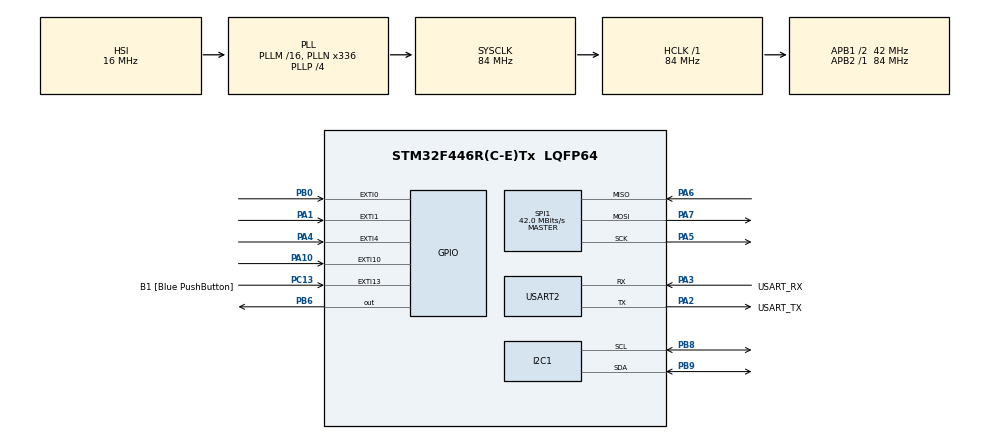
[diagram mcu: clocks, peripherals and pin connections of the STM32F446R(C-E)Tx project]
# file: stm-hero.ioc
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Dma.Request0=SPI1_TX
Dma.SPI1_TX.0.Direction=DMA_MEMORY_TO_PERIPH
Dma.SPI1_TX.0.FIFOMode=DMA_FIFOMODE_DISABLE
Dma.SPI1_TX.0.Instance=DMA2_Stream3
Dma.SPI1_TX.0.MemDataAlignment=DMA_MDATAALIGN_BYTE
Dma.SPI1_TX.0.MemInc=DMA_MINC_ENABLE
Dma.SPI1_TX.0.Mode=DMA_NORMAL
Dma.SPI1_TX.0.PeriphDataAlignment=DMA_PDATAALIGN_BYTE
Dma.SPI1_TX.0.PeriphInc=DMA_PINC_DISABLE
Dma.SPI1_TX.0.Priority=DMA_PRIORITY_LOW
Mcu.Family=STM32F4
Mcu.Name=STM32F446R(C-E)Tx
Mcu.Package=LQFP64
NVIC.DMA2_Stream3_IRQn=true\:0\:0\:false\:false\:true\:false\:true\:true
NVIC.EXTI0_IRQn=true\:0\:0\:false\:false\:true\:true\:true\:true
NVIC.EXTI15_10_IRQn=true\:0\:0\:false\:false\:true\:true\:true\:true
NVIC.EXTI1_IRQn=true\:0\:0\:false\:false\:true\:true\:true\:true
NVIC.EXTI4_IRQn=true\:0\:0\:false\:false\:true\:true\:true\:true
NVIC.PriorityGroup=NVIC_PRIORITYGROUP_0
PA1.GPIO_ModeDefaultEXTI=GPIO_MODE_IT_FALLING
PA1.GPIO_PuPd=GPIO_PULLUP
PA1.Signal=GPXTI1
PA10.GPIO_ModeDefaultEXTI=GPIO_MODE_IT_FALLING
PA10.GPIO_PuPd=GPIO_PULLUP
PA10.Signal=GPXTI10
PA13.GPIO_Label=TMS
PA13.Mode=Serial_Wire
PA13.Signal=SYS_JTMS-SWDIO
PA14.GPIO_Label=TCK
PA14.Mode=Serial_Wire
PA14.Signal=SYS_JTCK-SWCLK
PA2.GPIO_Label=USART_TX
PA2.Mode=Asynchronous
PA2.Signal=USART2_TX
PA3.GPIO_Label=USART_RX
PA3.Mode=Asynchronous
PA3.Signal=USART2_RX
PA4.GPIO_ModeDefaultEXTI=GPIO_MODE_IT_FALLING
PA4.GPIO_PuPd=GPIO_PULLUP
PA4.Signal=GPXTI4
PA5.Mode=Full_Duplex_Master
PA5.Signal=SPI1_SCK
PA6.Mode=Full_Duplex_Master
PA6.Signal=SPI1_MISO
PA7.Mode=Full_Duplex_Master
PA7.Signal=SPI1_MOSI
PB0.GPIO_ModeDefaultEXTI=GPIO_MODE_IT_FALLING
PB0.GPIO_PuPd=GPIO_PULLUP
PB0.Signal=GPXTI0
PB3.GPIO_Label=SWO
PB3.Signal=SYS_JTDO-SWO
PB6.Signal=GPIO_Output
PB8.Mode=I2C
PB8.Signal=I2C1_SCL
PB9.Mode=I2C
PB9.Signal=I2C1_SDA
PC13.GPIO_Label=B1 [Blue PushButton]
PC13.GPIO_ModeDefaultEXTI=GPIO_MODE_IT_FALLING
PC13.Signal=GPXTI13
PC14-OSC32_IN.Mode=LSE-External-Oscillator
PC14-OSC32_IN.Signal=RCC_OSC32_IN
PC15-OSC32_OUT.Mode=LSE-External-Oscillator
PC15-OSC32_OUT.Signal=RCC_OSC32_OUT
PH0-OSC_IN.Mode=HSE-External-Oscillator
PH0-OSC_IN.Signal=RCC_OSC_IN
PH1-OSC_OUT.Mode=HSE-External-Oscillator
PH1-OSC_OUT.Signal=RCC_OSC_OUT
ProjectManager.HeapSize=0x200
ProjectManager.StackSize=0x400
ProjectManager.TargetToolchain=STM32CubeIDE
RCC.48MHZClocksFreq_Value=84000000
RCC.AHBFreq_Value=84000000
RCC.APB1CLKDivider=RCC_HCLK_DIV2
RCC.APB1Freq_Value=42000000
RCC.APB1TimFreq_Value=84000000
RCC.APB2Freq_Value=84000000
RCC.APB2TimFreq_Value=84000000
RCC.CortexFreq_Value=84000000
RCC.FLatency-AdvancedSettings=FLASH_LATENCY_2
RCC.HCLKFreq_Value=84000000
RCC.HSE_VALUE=8000000
RCC.HSI_VALUE=16000000
RCC.PLLN=336
RCC.PLLP=RCC_PLLP_DIV4
RCC.SYSCLKFreq_VALUE=84000000
RCC.SYSCLKSource=RCC_SYSCLKSOURCE_PLLCLK
RCC.USBFreq_Value=168000000
RCC.VCOOutputFreq_Value=336000000
SPI1.CalculateBaudRate=42.0 MBits/s
SPI1.Direction=SPI_DIRECTION_2LINES
SPI1.Mode=SPI_MODE_MASTER
SPI1.VirtualType=VM_MASTER
TIM2.Prescaler=84 - 1
USART2.VirtualMode=VM_ASYNC
VP_TIM2_VS_ClockSourceINT.Mode=Internal
board=NUCLEO-F446RE

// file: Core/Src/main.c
/* USER CODE BEGIN Header */
/**
  ******************************************************************************
  * @file           : main.c
  * @brief          : Main program body
  ******************************************************************************
  * @attention
  *
  * Copyright (c) 2026 STMicroelectronics.
  * All rights reserved.
  *
  * This software is licensed under terms that can be found in the LICENSE file
  * in the root directory of this software component.
  * If no LICENSE file comes with this software, it is provided AS-IS.
  *
  ******************************************************************************
  */
/* USER CODE END Header */
#include "main.h"

/* USER CODE BEGIN Includes */
#include "led.h"
#include "oled.h"
#include "song.h"
#include "game.h"
#include "input.h"
#include <stdint.h>
#include <stdio.h>
#include <string.h>
#include "stm32f4xx.h"
/* USER CODE END Includes */

/* USER CODE BEGIN PD */
#define TIMEOUT 100
#define GAME_STEP 50
/* USER CODE END PD */

I2C_HandleTypeDef hi2c1;

SPI_HandleTypeDef hspi1;
DMA_HandleTypeDef hdma_spi1_tx;

TIM_HandleTypeDef htim2;

UART_HandleTypeDef huart2;

void SystemClock_Config(void);
static void MX_GPIO_Init(void);
static void MX_DMA_Init(void);
static void MX_I2C1_Init(void);
static void MX_SPI1_Init(void);
static void MX_USART2_UART_Init(void);
static void MX_TIM2_Init(void);
/* USER CODE BEGIN PFP */
static void I2C_BusRecover(void);
/* USER CODE END PFP */

/* USER CODE BEGIN 0 */
volatile uint8_t blue_button_pressed = 0;
volatile uint8_t up_button_pressed = 0;
volatile uint8_t down_button_pressed = 0;
extern uint32_t song_start_time;
volatile uint32_t last_press_us[4];

/* USER CODE END 0 */

int main(void)
{

  /* MCU Configuration--------------------------------------------------------*/

  /* Reset of all peripherals, Initializes the Flash interface and the Systick. */
  HAL_Init();

  /* Configure the system clock */
  SystemClock_Config();

  /* Initialize all configured peripherals */
  MX_GPIO_Init();
  MX_DMA_Init();
  MX_I2C1_Init();
  MX_SPI1_Init();
  MX_USART2_UART_Init();
  MX_TIM2_Init();
  /* USER CODE BEGIN 2 */
  HAL_TIM_Base_Start(&htim2);

  HAL_I2C_DeInit(&hi2c1);
  HAL_Delay(10);
  HAL_I2C_Init(&hi2c1);
  HAL_Delay(10);

  HAL_Delay(100);
  OLED_Init();
  OLED_Clear();

  HAL_StatusTypeDef status = OLED_Refresh();

  uint32_t err = HAL_I2C_GetError(&hi2c1);

  char msg[64];
  sprintf(msg,
      "OLED status=%d err=%lu\r\n",
      status,
      err);

  //sprintf(msg, "OLED status: %d\r\n", status);
  HAL_UART_Transmit(&huart2, (uint8_t*)msg, strlen(msg), 100);

  if(HAL_I2C_IsDeviceReady(&hi2c1,(0x3C << 1),3,100) != HAL_OK)
  {
	  I2C_BusRecover();
	  HAL_StatusTypeDef status = OLED_Refresh();

	  uint32_t err = HAL_I2C_GetError(&hi2c1);

	  char msg[64];
	  sprintf(msg,
	        "OLED status=%d err=%lu\r\n",
	        status,
	        err);

	  //sprintf(msg, "OLED status: %d\r\n", status);
	  HAL_UART_Transmit(&huart2, (uint8_t*)msg, strlen(msg), 100);
  }

  LED_Init();
  LED_Clear();
  LED_Update();
  HAL_Delay(1000);

  uint32_t t0 = micros();
  HAL_Delay(1000);
  uint32_t t1 = micros();

  uint32_t diff = t1 - t0;
  char msg2[32];
  sprintf(msg2, "delay: %lu\r\n", diff);
  HAL_UART_Transmit(&huart2, (uint8_t*)msg2, strlen(msg2), 100);

  t0 = micros();
  HAL_Delay(1000);
  t1 = micros();
  diff = t1 - t0;
  sprintf(msg2, "delay: %lu\r\n", diff);
  HAL_UART_Transmit(&huart2, (uint8_t*)msg2, strlen(msg2), 100);
  /* USER CODE END 2 */

  /* Infinite loop */
  /* USER CODE BEGIN WHILE */
  while (1)
  {

	  uint32_t now = micros();
	  uint32_t song_time = now - song_start_time;

	  GameUpdate(song_time);
	  GameRender(song_time);
	  ProcessInputs(song_time);
	  LED_Build_Frame();
    /* USER CODE END WHILE */

  }
}

void SystemClock_Config(void)
{
  RCC_OscInitTypeDef RCC_OscInitStruct = {0};
  RCC_ClkInitTypeDef RCC_ClkInitStruct = {0};

  /** Configure the main internal regulator output voltage
  */
  __HAL_RCC_PWR_CLK_ENABLE();
  __HAL_PWR_VOLTAGESCALING_CONFIG(PWR_REGULATOR_VOLTAGE_SCALE3);

  /** Initializes the RCC Oscillators according to the specified parameters
  * in the RCC_OscInitTypeDef structure.
  */
  RCC_OscInitStruct.OscillatorType = RCC_OSCILLATORTYPE_HSI;
  RCC_OscInitStruct.HSIState = RCC_HSI_ON;
  RCC_OscInitStruct.HSICalibrationValue = RCC_HSICALIBRATION_DEFAULT;
  RCC_OscInitStruct.PLL.PLLState = RCC_PLL_ON;
  RCC_OscInitStruct.PLL.PLLSource = RCC_PLLSOURCE_HSI;
  RCC_OscInitStruct.PLL.PLLM = 16;
  RCC_OscInitStruct.PLL.PLLN = 336;
  RCC_OscInitStruct.PLL.PLLP = RCC_PLLP_DIV4;
  RCC_OscInitStruct.PLL.PLLQ = 2;
  RCC_OscInitStruct.PLL.PLLR = 2;
  if (HAL_RCC_OscConfig(&RCC_OscInitStruct) != HAL_OK)
  {
    Error_Handler();
  }

  /** Initializes the CPU, AHB and APB buses clocks
  */
  RCC_ClkInitStruct.ClockType = RCC_CLOCKTYPE_HCLK|RCC_CLOCKTYPE_SYSCLK
                              |RCC_CLOCKTYPE_PCLK1|RCC_CLOCKTYPE_PCLK2;
  RCC_ClkInitStruct.SYSCLKSource = RCC_SYSCLKSOURCE_PLLCLK;
  RCC_ClkInitStruct.AHBCLKDivider = RCC_SYSCLK_DIV1;
  RCC_ClkInitStruct.APB1CLKDivider = RCC_HCLK_DIV2;
  RCC_ClkInitStruct.APB2CLKDivider = RCC_HCLK_DIV1;

  if (HAL_RCC_ClockConfig(&RCC_ClkInitStruct, FLASH_LATENCY_2) != HAL_OK)
  {
    Error_Handler();
  }
}

static void MX_I2C1_Init(void)
{

  hi2c1.Instance = I2C1;
  hi2c1.Init.ClockSpeed = 100000;
  hi2c1.Init.DutyCycle = I2C_DUTYCYCLE_2;
  hi2c1.Init.OwnAddress1 = 0;
  hi2c1.Init.AddressingMode = I2C_ADDRESSINGMODE_7BIT;
  hi2c1.Init.DualAddressMode = I2C_DUALADDRESS_DISABLE;
  hi2c1.Init.OwnAddress2 = 0;
  hi2c1.Init.GeneralCallMode = I2C_GENERALCALL_DISABLE;
  hi2c1.Init.NoStretchMode = I2C_NOSTRETCH_DISABLE;
  if (HAL_I2C_Init(&hi2c1) != HAL_OK)
  {
    Error_Handler();
  }

}

static void MX_SPI1_Init(void)
{

  /* SPI1 parameter configuration*/
  hspi1.Instance = SPI1;
  hspi1.Init.Mode = SPI_MODE_MASTER;
  hspi1.Init.Direction = SPI_DIRECTION_2LINES;
  hspi1.Init.DataSize = SPI_DATASIZE_8BIT;
  hspi1.Init.CLKPolarity = SPI_POLARITY_LOW;
  hspi1.Init.CLKPhase = SPI_PHASE_1EDGE;
  hspi1.Init.NSS = SPI_NSS_SOFT;
  hspi1.Init.BaudRatePrescaler = SPI_BAUDRATEPRESCALER_2;
  hspi1.Init.FirstBit = SPI_FIRSTBIT_MSB;
  hspi1.Init.TIMode = SPI_TIMODE_DISABLE;
  hspi1.Init.CRCCalculation = SPI_CRCCALCULATION_DISABLE;
  hspi1.Init.CRCPolynomial = 10;
  if (HAL_SPI_Init(&hspi1) != HAL_OK)
  {
    Error_Handler();
  }

}

static void MX_TIM2_Init(void)
{

  TIM_ClockConfigTypeDef sClockSourceConfig = {0};
  TIM_MasterConfigTypeDef sMasterConfig = {0};

  htim2.Instance = TIM2;
  htim2.Init.Prescaler = 84 - 1;
  htim2.Init.CounterMode = TIM_COUNTERMODE_UP;
  htim2.Init.Period = 4294967295;
  htim2.Init.ClockDivision = TIM_CLOCKDIVISION_DIV1;
  htim2.Init.AutoReloadPreload = TIM_AUTORELOAD_PRELOAD_DISABLE;
  if (HAL_TIM_Base_Init(&htim2) != HAL_OK)
  {
    Error_Handler();
  }
  sClockSourceConfig.ClockSource = TIM_CLOCKSOURCE_INTERNAL;
  if (HAL_TIM_ConfigClockSource(&htim2, &sClockSourceConfig) != HAL_OK)
  {
    Error_Handler();
  }
  sMasterConfig.MasterOutputTrigger = TIM_TRGO_RESET;
  sMasterConfig.MasterSlaveMode = TIM_MASTERSLAVEMODE_DISABLE;
  if (HAL_TIMEx_MasterConfigSynchronization(&htim2, &sMasterConfig) != HAL_OK)
  {
    Error_Handler();
  }

}

static void MX_USART2_UART_Init(void)
{

  huart2.Instance = USART2;
  huart2.Init.BaudRate = 115200;
  huart2.Init.WordLength = UART_WORDLENGTH_8B;
  huart2.Init.StopBits = UART_STOPBITS_1;
  huart2.Init.Parity = UART_PARITY_NONE;
  huart2.Init.Mode = UART_MODE_TX_RX;
  huart2.Init.HwFlowCtl = UART_HWCONTROL_NONE;
  huart2.Init.OverSampling = UART_OVERSAMPLING_16;
  if (HAL_UART_Init(&huart2) != HAL_OK)
  {
    Error_Handler();
  }

}

static void MX_DMA_Init(void)
{

  /* DMA controller clock enable */
  __HAL_RCC_DMA2_CLK_ENABLE();

  /* DMA interrupt init */
  /* DMA2_Stream3_IRQn interrupt configuration */
  HAL_NVIC_SetPriority(DMA2_Stream3_IRQn, 0, 0);
  HAL_NVIC_EnableIRQ(DMA2_Stream3_IRQn);

}

static void MX_GPIO_Init(void)
{
  GPIO_InitTypeDef GPIO_InitStruct = {0};

  /* GPIO Ports Clock Enable */
  __HAL_RCC_GPIOC_CLK_ENABLE();
  __HAL_RCC_GPIOH_CLK_ENABLE();
  __HAL_RCC_GPIOA_CLK_ENABLE();
  __HAL_RCC_GPIOB_CLK_ENABLE();

  /*Configure GPIO pin Output Level */
  HAL_GPIO_WritePin(GPIOB, GPIO_PIN_6, GPIO_PIN_RESET);

  /*Configure GPIO pin : B1_Pin */
  GPIO_InitStruct.Pin = B1_Pin;
  GPIO_InitStruct.Mode = GPIO_MODE_IT_FALLING;
  GPIO_InitStruct.Pull = GPIO_NOPULL;
  HAL_GPIO_Init(B1_GPIO_Port, &GPIO_InitStruct);

  /*Configure GPIO pins : PA1 PA4 PA10 */
  GPIO_InitStruct.Pin = GPIO_PIN_1|GPIO_PIN_4|GPIO_PIN_10;
  GPIO_InitStruct.Mode = GPIO_MODE_IT_FALLING;
  GPIO_InitStruct.Pull = GPIO_PULLUP;
  HAL_GPIO_Init(GPIOA, &GPIO_InitStruct);

  /*Configure GPIO pin : PB0 */
  GPIO_InitStruct.Pin = GPIO_PIN_0;
  GPIO_InitStruct.Mode = GPIO_MODE_IT_FALLING;
  GPIO_InitStruct.Pull = GPIO_PULLUP;
  HAL_GPIO_Init(GPIOB, &GPIO_InitStruct);

  /*Configure GPIO pin : PB6 */
  GPIO_InitStruct.Pin = GPIO_PIN_6;
  GPIO_InitStruct.Mode = GPIO_MODE_OUTPUT_PP;
  GPIO_InitStruct.Pull = GPIO_NOPULL;
  GPIO_InitStruct.Speed = GPIO_SPEED_FREQ_LOW;
  HAL_GPIO_Init(GPIOB, &GPIO_InitStruct);

  /* EXTI interrupt init*/
  HAL_NVIC_SetPriority(EXTI0_IRQn, 0, 0);
  HAL_NVIC_EnableIRQ(EXTI0_IRQn);

  HAL_NVIC_SetPriority(EXTI1_IRQn, 0, 0);
  HAL_NVIC_EnableIRQ(EXTI1_IRQn);

  HAL_NVIC_SetPriority(EXTI4_IRQn, 0, 0);
  HAL_NVIC_EnableIRQ(EXTI4_IRQn);

  HAL_NVIC_SetPriority(EXTI15_10_IRQn, 0, 0);
  HAL_NVIC_EnableIRQ(EXTI15_10_IRQn);

}

/* USER CODE BEGIN 4 */
void HAL_GPIO_EXTI_Callback(uint16_t GPIO_Pin)
{

	if(GPIO_Pin == GPIO_PIN_13)
	{
		blue_button_pressed = 1;
		return;
	}
	uint32_t now = micros();

	uint8_t lane;

	switch(GPIO_Pin)
	{
	case GPIO_PIN_10:
		lane = 0;
//		char msg4[32];
//		sprintf(msg4, "left pressed\r\n");
//		HAL_UART_Transmit(&huart2, (uint8_t*)msg4, strlen(msg4), 100);
		break;
	case GPIO_PIN_0:
		lane = 1;
//		char msg5[32];
//		sprintf(msg5, "left 1 pressed\r\n");
//		HAL_UART_Transmit(&huart2, (uint8_t*)msg5, strlen(msg5), 100);
		break;
	case GPIO_PIN_4:
		lane = 2;
//		char msg6[32];
//		sprintf(msg6, "right 1 pressed\r\n");
//		HAL_UART_Transmit(&huart2, (uint8_t*)msg6, strlen(msg6), 100);
		break;
	case GPIO_PIN_1:
		lane = 3;
//		char msg7[32];
//		sprintf(msg7, "right pressed\r\n");
//		HAL_UART_Transmit(&huart2, (uint8_t*)msg7, strlen(msg7), 100);
		break;
	default:
		return;
	}

	if(now - last_press_us[lane] < 5000)
	{
		return;
	}

	if(lane == 0 && now - last_press_us[lane] > 500000)
	{
		up_button_pressed = 1;
	}
	else if(lane == 1 && now - last_press_us[lane] > 500000)
	{
		down_button_pressed = 1;
	}

	last_press_us[lane] = now;
	PushInputEvent(lane, now - song_start_time);
}

static void I2C_BusRecover(void)
  {
      GPIO_InitTypeDef GPIO_InitStruct = {0};

      __HAL_I2C_DISABLE(&hi2c1);

      GPIO_InitStruct.Pin = GPIO_PIN_8 | GPIO_PIN_9;
      GPIO_InitStruct.Mode = GPIO_MODE_OUTPUT_OD;
      GPIO_InitStruct.Pull = GPIO_PULLUP;
      GPIO_InitStruct.Speed = GPIO_SPEED_FREQ_HIGH;

      HAL_GPIO_Init(GPIOB, &GPIO_InitStruct);

      HAL_GPIO_WritePin(GPIOB, GPIO_PIN_8, GPIO_PIN_SET);
      HAL_GPIO_WritePin(GPIOB, GPIO_PIN_9, GPIO_PIN_SET);

      HAL_Delay(1);

      for(int i = 0; i < 9; i++)
      {
          HAL_GPIO_WritePin(GPIOB, GPIO_PIN_8, GPIO_PIN_RESET);
          HAL_Delay(1);

          HAL_GPIO_WritePin(GPIOB, GPIO_PIN_8, GPIO_PIN_SET);
          HAL_Delay(1);
      }

      HAL_GPIO_WritePin(GPIOB, GPIO_PIN_9, GPIO_PIN_RESET);
      HAL_Delay(1);

      HAL_GPIO_WritePin(GPIOB, GPIO_PIN_8, GPIO_PIN_SET);
      HAL_Delay(1);

      HAL_GPIO_WritePin(GPIOB, GPIO_PIN_9, GPIO_PIN_SET);
      HAL_Delay(1);

      MX_I2C1_Init();
  }
/* USER CODE END 4 */

void Error_Handler(void)
{
  __disable_irq();
  while (1)
  {
  }
}
